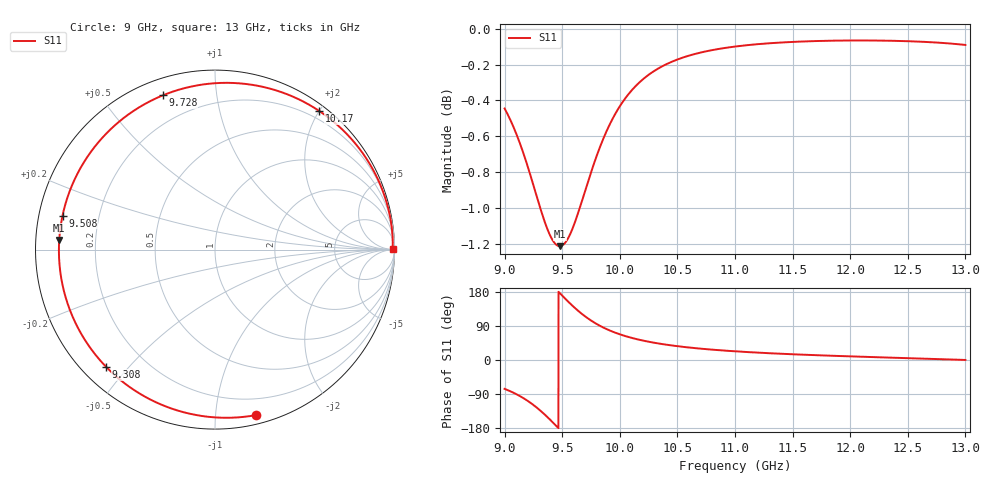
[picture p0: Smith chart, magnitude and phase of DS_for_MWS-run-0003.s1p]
! TOUCHSTONE file generated by CST DESIGN STUDIO
! Date and time: Tue Feb  4 17:15:54 2025
! Project name: C:\Work\MatlabApps\UnitCellOptimizationMatlab\CST\unitcell.cst
! Tree item: Tasks\Sweep1\SPara1\S-Parameters
! Header version: 2024
! Port assignment regex: !\s*Touchstone port\s*([0-9]+)\s*=\s*(CST MWS port|CST DES external port|CST DES block port)\s*(.+)\s* \(\"(.*)\"\)(\s*mode\s*([0-9]+))?.*
! Touchstone port assignment:
! Touchstone port 1 = CST DES external port 1 ("")
# GHz S MA R 50
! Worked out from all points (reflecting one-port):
!   4001 points, 9 GHz to 13 GHz, reference 50 ohm
!   lowest |S11| = -1.2 dB at 9.479 GHz (marker M1), VSWR 14.34, Z = 3.49 + j1.54 ohm
!   phase of S11 starts at -76 deg and turns -284 deg over the sweep
!   S11 on the Smith chart (normalised r, x): 9 GHz: 0.07, -1.27; 9.308 GHz: 0.07, -0.43; 9.508 GHz: 0.07, +0.11; 9.728 GHz: 0.07, +0.71; 10.17 GHz: 0.09, +2.00; 13 GHz: open
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9  0.95 -76.2
9.077  0.9388 -86.4
9.175  0.9207 -102.9
9.244  0.9057 -117.3
9.308  0.8915 -132.9
9.352  0.8826 -145.0
9.4  0.8749 -159.1
9.44  0.8709 -171.4
9.479  0.8696 176.4
9.5  0.87 169.9
9.508  0.8703 167.4
9.56  0.8751 151.6
9.621  0.885 134.3
9.673  0.8956 121.1
9.728  0.9072 108.7
9.782  0.9182 98.1
9.842  0.9293 87.9
9.919  0.9413 77.1
10  0.9514 67.8
10.174  0.9663 53.1
10.323  0.9743 44.2
10.5  0.9804 36.5
10.722  0.9852 29.4
11  0.9886 23.0
11.5  0.9916 15.1
12  0.9925 9.6
12.5  0.992 4.9
13  0.9896 0.1
